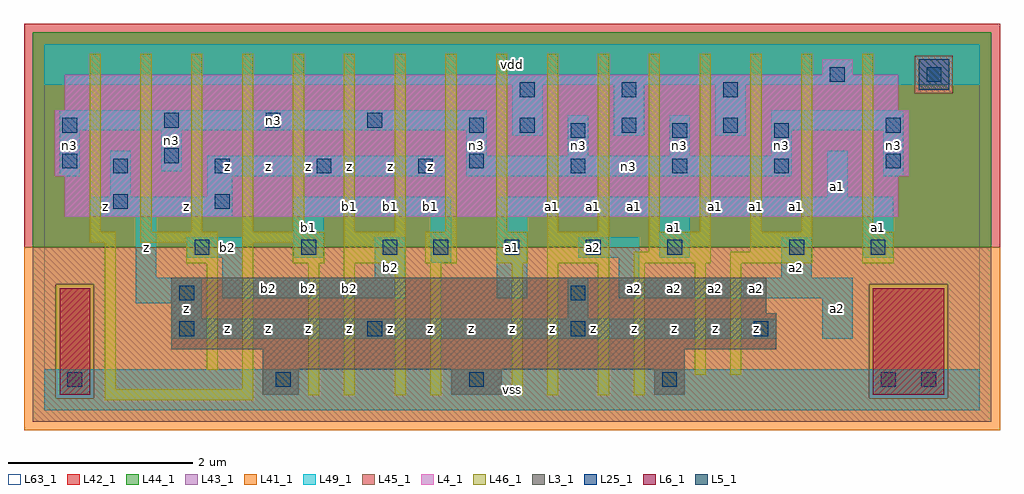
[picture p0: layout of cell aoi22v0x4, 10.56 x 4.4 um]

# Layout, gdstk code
import gdstk
lib = gdstk.Library(unit=1e-6, precision=1e-09)
def R(c, l, rs):  # rectangles x0, y0, x1, y1
    for r in rs: c.add(gdstk.rectangle(r[:2], r[2:], *l))
def A(c, l, x, y, w, h, nx, ny, dx, dy):  # array of equal rectangles
    R(c, l, [(x+i*dx, y+j*dy, x+i*dx+w, y+j*dy+h) for i in range(nx) for j in range(ny)])
L3_1 = (3, 1)
L4_1 = (4, 1)
L5_1 = (5, 1)
L6_1 = (6, 1)
L25_1 = (25, 1)
L41_1 = (41, 1)
L42_1 = (42, 1)
L43_1 = (43, 1)
L44_1 = (44, 1)
L45_1 = (45, 1)
L46_1 = (46, 1)
L49_1 = (49, 1)
L63_1 = (63, 1)

aoi22v0x4 = lib.new_cell('aoi22v0x4')
R(aoi22v0x4, L3_1, [(2.365,0.165,2.75,0.44), (4.4,0.165,4.95,0.44), (6.6,0.165,6.93,0.44), (2.365,0.44,6.93,0.66), (1.375,0.66,7.92,1.045), (1.375,1.045,7.81,1.43)])
R(aoi22v0x4, L4_1, [(0.22,2.09,9.24,2.53), (0.11,2.53,9.35,3.245), (0.22,3.245,9.24,3.63), (8.415,3.63,8.745,3.795)])
R(aoi22v0x4, L5_1, [(9.46,3.465,9.79,3.795)])
R(aoi22v0x4, L6_1, [(0.165,0.165,0.495,1.32), (8.965,0.165,9.735,1.32)])
A(aoi22v0x4, L25_1, 2.505, 0.25, 0.16, 0.16, 3, 1, 2.09, 0)
A(aoi22v0x4, L25_1, 4.98, 1.68, 0.16, 0.16, 3, 1, 0.88, 0)
A(aoi22v0x4, L25_1, 0.745, 2.56, 0.16, 0.16, 4, 1, 1.1, 0)
A(aoi22v0x4, L25_1, 5.695, 2.56, 0.16, 0.16, 3, 2, 1.1, 0.385)
A(aoi22v0x4, L25_1, 5.145, 3, 0.16, 0.16, 3, 2, 1.1, 0.385)
A(aoi22v0x4, L25_1, 1.295, 3.055, 0.16, 0.16, 3, 1, 1.1, 0)
R(aoi22v0x4, L25_1, [(0.25,0.25,0.41,0.41), (9.05,0.25,9.21,0.41), (9.49,0.25,9.65,0.41), (1.46,0.8,1.62,0.96), (3.495,0.8,3.655,0.96), (5.695,0.8,5.855,0.96), (7.675,0.8,7.835,0.96), (1.46,1.185,1.62,1.345), (5.695,1.185,5.855,1.345), (1.625,1.68,1.785,1.84), (2.78,1.68,2.94,1.84), (3.66,1.68,3.82,1.84), (4.21,1.68,4.37,1.84), (8.06,1.68,8.22,1.84), (8.94,1.68,9.1,1.84), (0.745,2.175,0.905,2.335), (1.845,2.175,2.005,2.335), (0.195,2.615,0.355,2.775), (4.595,2.615,4.755,2.775), (9.105,2.615,9.265,2.775), (1.295,2.67,1.455,2.83), (0.195,3,0.355,3.16), (4.595,3,4.755,3.16), (9.105,3,9.265,3.16), (8.5,3.55,8.66,3.71), (9.545,3.55,9.705,3.71)])
R(aoi22v0x4, L41_1, [(-0.22,-0.22,10.34,1.76)])
R(aoi22v0x4, L42_1, [(-0.22,1.76,10.34,4.18)])
R(aoi22v0x4, L43_1, [(0.165,0.165,0.495,1.32), (2.365,0.165,2.75,0.44), (4.4,0.165,4.95,0.44), (6.6,0.165,6.93,0.44), (8.965,0.165,9.735,1.32), (2.365,0.44,6.93,0.66), (1.375,0.66,7.92,1.045), (1.375,1.045,7.81,1.43), (0.22,2.09,9.24,2.53), (0.11,2.53,9.35,3.245), (0.22,3.245,9.24,3.63), (9.46,3.465,9.79,3.795), (8.415,3.63,8.745,3.795)])
R(aoi22v0x4, L44_1, [(0.125,0.125,0.535,1.36), (8.925,0.125,9.775,1.36), (-0.125,1.76,10.245,3.425), (-0.125,3.425,9.42,3.835), (9.83,3.425,10.245,3.835), (-0.125,3.835,10.245,4.085)])
R(aoi22v0x4, L45_1, [(-0.125,-0.125,10.245,0.125), (-0.125,0.125,0.125,1.36), (0.535,0.125,8.925,1.36), (9.775,0.125,10.245,1.36), (-0.125,1.36,10.245,1.76), (9.42,3.425,9.83,3.835)])
A(aoi22v0x4, L46_1, 0.49, 1.93, 0.12, 1.925, 15, 1, 0.55, 0)
R(aoi22v0x4, L46_1, [(0.655,0.105,2.26,0.225), (2.855,0.16,2.975,1.59), (3.24,0.16,3.36,1.59), (3.79,0.16,3.91,1.59), (4.175,0.16,4.295,1.59), (5.055,0.16,5.175,1.59), (5.44,0.16,5.56,1.59), (5.99,0.16,6.11,1.59), (6.375,0.16,6.495,1.59), (0.655,0.225,0.775,1.81), (2.14,0.225,2.26,1.81), (7.035,0.38,7.155,1.59), (7.42,0.38,7.54,1.59), (1.755,0.435,1.875,1.59), (1.535,1.59,1.875,1.81), (2.69,1.59,3.03,1.81), (3.24,1.59,3.91,1.93), (4.12,1.59,4.46,1.93), (4.89,1.59,5.23,1.93), (5.44,1.59,6.11,1.93), (6.375,1.59,7.21,1.71), (7.42,1.59,8.31,1.71), (8.85,1.59,9.19,1.93), (6.54,1.71,7.21,1.93), (7.64,1.71,8.31,1.93), (0.49,1.81,0.775,1.93), (1.04,1.81,1.875,1.93), (2.14,1.81,3.03,1.93), (8.85,1.93,8.97,3.855)])
A(aoi22v0x4, L49_1, 5.06, 2.97, 0.33, 0.55, 3, 1, 1.1, 0)
R(aoi22v0x4, L49_1, [(0,0,10.12,0.44), (1.375,0.77,7.92,0.99), (8.415,0.77,8.745,1.21), (1.375,0.99,1.705,1.155), (5.665,0.99,5.885,1.43), (0.99,1.155,1.705,1.43), (1.925,1.21,3.905,1.43), (4.895,1.21,5.225,2.09), (6.215,1.21,8.745,1.43), (0.99,1.43,1.21,2.09), (1.925,1.43,2.145,1.65), (3.575,1.43,3.905,1.87), (6.215,1.43,6.435,1.65), (7.975,1.43,8.305,1.87), (4.18,1.595,4.4,2.09), (1.54,1.65,2.145,1.87), (2.695,1.65,3.025,2.09), (5.775,1.65,6.435,1.87), (6.655,1.65,6.985,2.09), (8.855,1.65,9.185,2.09), (0.495,2.09,2.035,2.31), (2.695,2.09,4.4,2.31), (4.895,2.09,9.185,2.31), (0.715,2.31,0.935,2.805), (1.76,2.31,2.035,2.53), (8.47,2.31,8.69,2.805), (0.165,2.53,0.385,3.025), (1.76,2.53,4.345,2.75), (4.565,2.53,8.085,2.75), (9.075,2.53,9.295,3.025), (1.265,2.585,1.485,3.025), (4.565,2.75,4.785,3.025), (5.665,2.75,5.885,3.19), (6.765,2.75,6.985,3.19), (7.865,2.75,8.085,3.025), (0.165,3.025,4.785,3.245), (7.865,3.025,9.295,3.245), (0,3.52,10.12,3.96)])
R(aoi22v0x4, L63_1, [(0,0,10.12,3.96)])
aoi22v0x4.add(gdstk.Label('z', (1.1,1.76), layer=49, texttype=1))
aoi22v0x4.add(gdstk.Label('z', (0.66,2.2), layer=49, texttype=1))
aoi22v0x4.add(gdstk.Label('n3', (1.375,2.915), layer=49, texttype=1))
aoi22v0x4.add(gdstk.Label('n3', (0.275,2.86), layer=49, texttype=1))
aoi22v0x4.add(gdstk.Label('z', (1.54,1.1), layer=49, texttype=1))
aoi22v0x4.add(gdstk.Label('z', (1.98,0.88), layer=49, texttype=1))
aoi22v0x4.add(gdstk.Label('z', (2.42,0.88), layer=49, texttype=1))
aoi22v0x4.add(gdstk.Label('z', (2.86,0.88), layer=49, texttype=1))
aoi22v0x4.add(gdstk.Label('b2', (2.42,1.32), layer=49, texttype=1))
aoi22v0x4.add(gdstk.Label('b2', (2.86,1.32), layer=49, texttype=1))
aoi22v0x4.add(gdstk.Label('b2', (1.98,1.76), layer=49, texttype=1))
aoi22v0x4.add(gdstk.Label('b1', (2.86,1.98), layer=49, texttype=1))
aoi22v0x4.add(gdstk.Label('z', (1.54,2.2), layer=49, texttype=1))
aoi22v0x4.add(gdstk.Label('z', (1.98,2.64), layer=49, texttype=1))
aoi22v0x4.add(gdstk.Label('z', (2.42,2.64), layer=49, texttype=1))
aoi22v0x4.add(gdstk.Label('z', (2.86,2.64), layer=49, texttype=1))
aoi22v0x4.add(gdstk.Label('z', (3.3,0.88), layer=49, texttype=1))
aoi22v0x4.add(gdstk.Label('z', (3.74,0.88), layer=49, texttype=1))
aoi22v0x4.add(gdstk.Label('z', (4.18,0.88), layer=49, texttype=1))
aoi22v0x4.add(gdstk.Label('z', (4.62,0.88), layer=49, texttype=1))
aoi22v0x4.add(gdstk.Label('b2', (3.74,1.54), layer=49, texttype=1))
aoi22v0x4.add(gdstk.Label('b2', (3.3,1.32), layer=49, texttype=1))
aoi22v0x4.add(gdstk.Label('b1', (3.74,2.2), layer=49, texttype=1))
aoi22v0x4.add(gdstk.Label('b1', (4.18,2.2), layer=49, texttype=1))
aoi22v0x4.add(gdstk.Label('b1', (3.3,2.2), layer=49, texttype=1))
aoi22v0x4.add(gdstk.Label('z', (3.74,2.64), layer=49, texttype=1))
aoi22v0x4.add(gdstk.Label('z', (4.18,2.64), layer=49, texttype=1))
aoi22v0x4.add(gdstk.Label('n3', (4.675,2.86), layer=49, texttype=1))
aoi22v0x4.add(gdstk.Label('z', (3.3,2.64), layer=49, texttype=1))
aoi22v0x4.add(gdstk.Label('n3', (2.475,3.135), layer=49, texttype=1))
aoi22v0x4.add(gdstk.Label('vss', (5.06,0.22), layer=49, texttype=1))
aoi22v0x4.add(gdstk.Label('z', (5.06,0.88), layer=49, texttype=1))
aoi22v0x4.add(gdstk.Label('z', (5.5,0.88), layer=49, texttype=1))
aoi22v0x4.add(gdstk.Label('z', (5.94,0.88), layer=49, texttype=1))
aoi22v0x4.add(gdstk.Label('z', (6.38,0.88), layer=49, texttype=1))
aoi22v0x4.add(gdstk.Label('a2', (6.38,1.32), layer=49, texttype=1))
aoi22v0x4.add(gdstk.Label('a1', (5.06,1.76), layer=49, texttype=1))
aoi22v0x4.add(gdstk.Label('a2', (5.94,1.76), layer=49, texttype=1))
aoi22v0x4.add(gdstk.Label('a1', (5.5,2.2), layer=49, texttype=1))
aoi22v0x4.add(gdstk.Label('a1', (5.94,2.2), layer=49, texttype=1))
aoi22v0x4.add(gdstk.Label('a1', (6.38,2.2), layer=49, texttype=1))
aoi22v0x4.add(gdstk.Label('n3', (5.775,2.86), layer=49, texttype=1))
aoi22v0x4.add(gdstk.Label('vdd', (5.06,3.74), layer=49, texttype=1))
aoi22v0x4.add(gdstk.Label('z', (6.82,0.88), layer=49, texttype=1))
aoi22v0x4.add(gdstk.Label('z', (7.26,0.88), layer=49, texttype=1))
aoi22v0x4.add(gdstk.Label('z', (7.7,0.88), layer=49, texttype=1))
aoi22v0x4.add(gdstk.Label('a2', (7.26,1.32), layer=49, texttype=1))
aoi22v0x4.add(gdstk.Label('a2', (7.7,1.32), layer=49, texttype=1))
aoi22v0x4.add(gdstk.Label('a2', (8.14,1.54), layer=49, texttype=1))
aoi22v0x4.add(gdstk.Label('a2', (6.82,1.32), layer=49, texttype=1))
aoi22v0x4.add(gdstk.Label('a1', (7.26,2.2), layer=49, texttype=1))
aoi22v0x4.add(gdstk.Label('a1', (7.7,2.2), layer=49, texttype=1))
aoi22v0x4.add(gdstk.Label('a1', (8.14,2.2), layer=49, texttype=1))
aoi22v0x4.add(gdstk.Label('a1', (6.82,1.98), layer=49, texttype=1))
aoi22v0x4.add(gdstk.Label('n3', (7.975,2.86), layer=49, texttype=1))
aoi22v0x4.add(gdstk.Label('n3', (6.875,2.86), layer=49, texttype=1))
aoi22v0x4.add(gdstk.Label('n3', (6.325,2.64), layer=49, texttype=1))
aoi22v0x4.add(gdstk.Label('a2', (8.58,1.1), layer=49, texttype=1))
aoi22v0x4.add(gdstk.Label('a1', (9.02,1.98), layer=49, texttype=1))
aoi22v0x4.add(gdstk.Label('a1', (8.58,2.42), layer=49, texttype=1))
aoi22v0x4.add(gdstk.Label('n3', (9.185,2.86), layer=49, texttype=1))

lib.write_gds('aoi22v0x4.gds')
